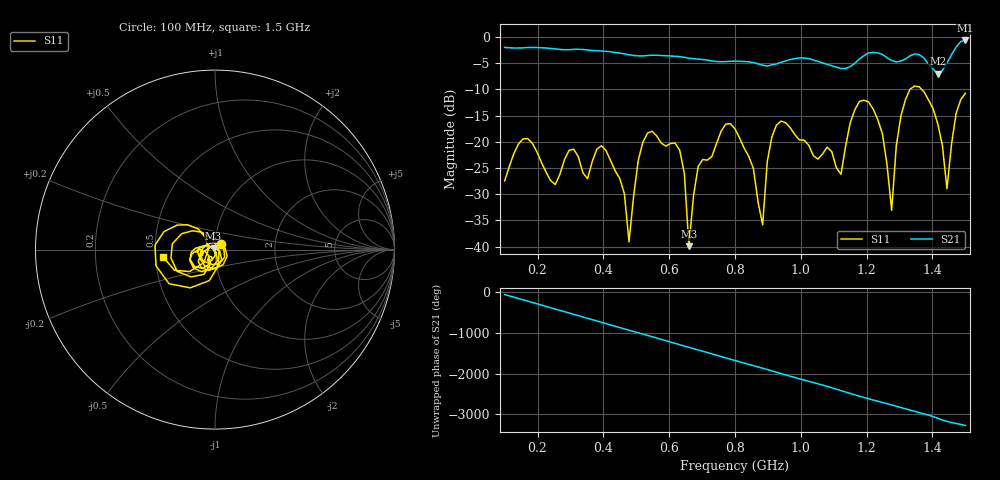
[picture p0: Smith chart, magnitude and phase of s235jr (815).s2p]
! NanoVNA-App
! Date: 2025-09-25 15:10:31
! Start: 100MHz Stop: 1,5GHz Points: 101
! S-Parameter data: F S11 S21 S12 S22
# Hz S RI R 50
!  Frequency  S11_Real  S11_Imag  S21_Real  S21_Imag  S12_Real  S12_Imag  S22_Real  S22_Imag
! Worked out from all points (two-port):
!   101 points, 100 MHz to 1.5 GHz, reference 50 ohm
!   highest |S21| = -0.64 dB at 1.5 GHz (marker M1); lowest = -7.0 dB at 1.416 GHz (marker M2)
!   |S21| within 3 dB of the highest: start of sweep to 613.7 MHz; 1.19 GHz to 1.255 GHz (65.82 MHz wide, 5.38 % of centre) (the widest 2 of 4)
!   lowest |S11| = -39.9 dB at 660 MHz (marker M3), VSWR 1.02, Z = 49.2 + j0.629 ohm
!   |S11| at or under -10 dB: start of sweep to 1.331 GHz; 1.368 GHz to end of sweep
!   S12 and S22 are empty: the file has one direction only
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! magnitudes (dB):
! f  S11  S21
! 100 MHz  -27.5  -2.0
! 156 MHz  -19.4  -2.0
! 338 MHz  -25.9  -2.4
! 408 MHz  -21.6  -2.7
! 478 MHz  -39.1  -3.4
! 520 MHz  -20.1  -3.6
! 576 MHz  -20.2  -3.5
! 632 MHz  -21.6  -3.7
! 660 MHz  -39.9  -4.0
! 688 MHz  -24.7  -4.2
! 800 MHz  -17.5  -4.6
! 884 MHz  -35.8  -5.4
! 926 MHz  -16.8  -5.1
! 1.038 GHz  -22.6  -4.4
! 1.122 GHz  -26.2  -6.0
! 1.206 GHz  -12.4  -3.0
! 1.276 GHz  -33.1  -4.5
! 1.29 GHz  -20.8  -4.7
! 1.332 GHz  -9.9  -3.6
! 1.416 GHz  -16.5  -7.0
! 1.444 GHz  -29.0  -4.9
! 1.5 GHz  -10.7  -0.6
